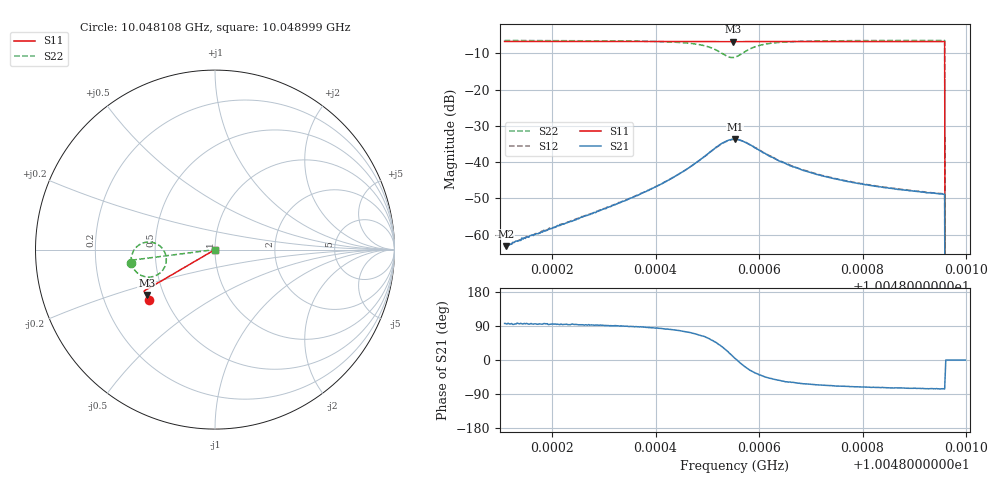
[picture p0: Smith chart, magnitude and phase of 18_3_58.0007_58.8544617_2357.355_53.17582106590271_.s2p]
#  HZ  S  RI  R  50.00
! Rohde & Schwarz Vector Network Analyzer
! Rohde-Schwarz,ZNB20-2Port,1311601062101988,3.16
! Created: UTC 3/21/2024, 12:51:04 AM
! freq[Hz]  re:S11  im:S11  re:S21  im:S21  re:S12  im:S12  re:S22  im:S22
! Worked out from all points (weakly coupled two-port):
!   401 points, 10.048108 GHz to 10.048999 GHz, reference 50 ohm
!   highest |S21| = -33.69 dB at 10.048554 GHz (marker M1); lowest = -63.1 dB at 10.048111 GHz (marker M2)
!   lowest |S11| = -6.8 dB at 10.048549 GHz (marker M3), VSWR 2.68, Z = 20.1 - j12.9 ohm
!   |S11| at or under -10 dB: 10.048959 GHz to end of sweep
!   |S22| runs from - to -6.5 dB; largest |S21 - S12| = 0.0018
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1.00481084e10  -0.3657 -0.2783  -7.85e-05 0.000699  -0.000118 0.000687  -0.4678 -0.0723
1.00481107e10  -0.3657 -0.2783  -7.61e-05 0.000699  -0.00012 0.000734  -0.4678 -0.0723
1.00482576e10  -0.3714 -0.2701  -8.84e-05 0.00174  -0.000196 0.00178  -0.4675 -0.0526
1.0048351e10  -0.3749 -0.2645  7.58e-05 0.00318  -0.000141 0.00318  -0.4643 -0.033
1.00484067e10  -0.377 -0.2613  0.000548 0.00481  0.000255 0.00484  -0.4579 -0.0143
1.00484401e10  -0.3781 -0.2593  0.00127 0.0064  0.000929 0.00649  -0.4483 0.00193
1.00484734e10  -0.3792 -0.2571  0.00313 0.00872  0.00265 0.00891  -0.4268 0.0233
1.00485113e10  -0.3799 -0.2545  0.00937 0.0115  0.00866 0.012  -0.3639 0.0422
1.00485313e10  -0.38 -0.2536  0.0158 0.00986  0.015 0.0108  -0.306 0.0194
1.00485402e10  -0.3799 -0.2532  0.0185 0.00741  0.0178 0.00845  -0.2836 -0.00801
1.00485491e10  -0.3798 -0.2529  0.0203 0.00359  0.0199 0.0051  -0.2721 -0.0441
1.00485536e10  -0.38 -0.2531  0.0206 0.00149  0.0203 0.00325  -0.2715 -0.0635
1.00485647e10  -0.3803 -0.2529  0.0197 -0.00315  0.0199 -0.00157  -0.2863 -0.1073
1.00485781e10  -0.3812 -0.2527  0.0166 -0.00702  0.0172 -0.00582  -0.3201 -0.14
1.00486092e10  -0.3829 -0.2514  0.00965 -0.00923  0.0104 -0.00862  -0.3904 -0.1509
1.00486604e10  -0.3853 -0.2482  0.00467 -0.00754  0.00525 -0.00744  -0.4379 -0.1252
1.00487027e10  -0.3867 -0.2458  0.00307 -0.00638  0.00351 -0.00626  -0.4523 -0.1078
1.00487672e10  -0.3891 -0.242  0.00193 -0.00514  0.00226 -0.00509  -0.4618 -0.0899
1.00488518e10  -0.392 -0.237  0.00125 -0.0042  0.00154 -0.00415  -0.4673 -0.0741
1.00489542e10  -0.3953 -0.231  0.000897 -0.00354  0.00108 -0.00352  -0.4703 -0.0604
1.00489653e10  0 0  0 0  0 0  0 0
1.00489987e10  0 0  0 0  0 0  0 0
